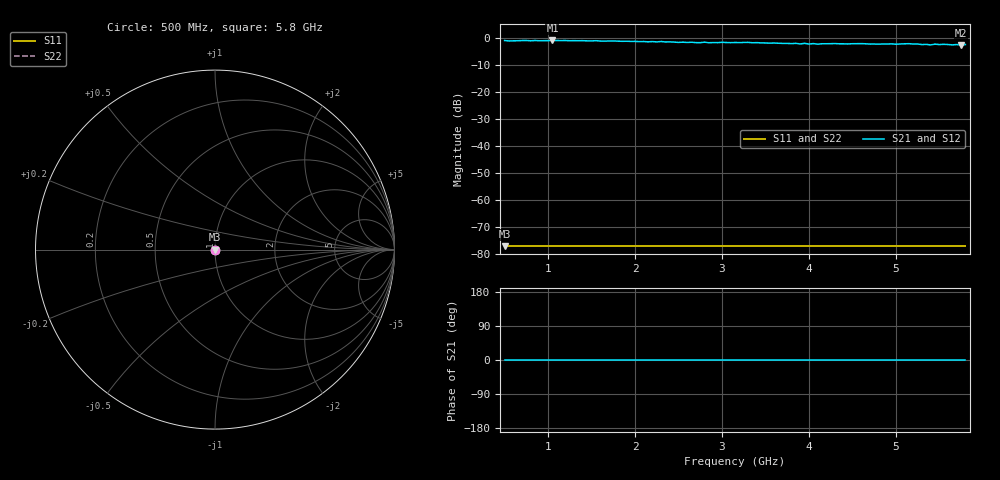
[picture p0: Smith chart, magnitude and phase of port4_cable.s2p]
# GHZ S RI R 50
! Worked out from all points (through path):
!   107 points, 500 MHz to 5.8 GHz, reference 50 ohm
!   highest |S21| = -1.01 dB at 1.05 GHz (marker M1); lowest = -2.7 dB at 5.75 GHz (marker M2)
!   lowest |S11| = -77.0 dB at 500 MHz (marker M3), VSWR 1.00, Z = 50 + j0.01 ohm
!   |S11| at or under -10 dB: start of sweep to end of sweep
!   |S22| runs from -77.0 to -77.0 dB; largest |S21 - S12| = 0
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0.5  0.0001 0.0001  0.8879 0  0.8879 0  0.0001 0.0001
0.55  0.0001 0.0001  0.8716 0  0.8716 0  0.0001 0.0001
1.05  0.0001 0.0001  0.8901 0  0.8901 0  0.0001 0.0001
1.4  0.0001 0.0001  0.882 0  0.882 0  0.0001 0.0001
2.15  0.0001 0.0001  0.8396 0  0.8396 0  0.0001 0.0001
2.3  0.0001 0.0001  0.8519 0  0.8519 0  0.0001 0.0001
2.5  0.0001 0.0001  0.8187 0  0.8187 0  0.0001 0.0001
3.15  0.0001 0.0001  0.8168 0  0.8168 0  0.0001 0.0001
3.85  0.0001 0.0001  0.7867 0  0.7867 0  0.0001 0.0001
3.9  0.0001 0.0001  0.767 0  0.767 0  0.0001 0.0001
3.95  0.0001 0.0001  0.7879 0  0.7879 0  0.0001 0.0001
4  0.0001 0.0001  0.7638 0  0.7638 0  0.0001 0.0001
4.05  0.0001 0.0001  0.7792 0  0.7792 0  0.0001 0.0001
4.1  0.0001 0.0001  0.7603 0  0.7603 0  0.0001 0.0001
4.3  0.0001 0.0001  0.7803 0  0.7803 0  0.0001 0.0001
4.95  0.0001 0.0001  0.7704 0  0.7704 0  0.0001 0.0001
5.15  0.0001 0.0001  0.7755 0  0.7755 0  0.0001 0.0001
5.4  0.0001 0.0001  0.7364 0  0.7364 0  0.0001 0.0001
5.45  0.0001 0.0001  0.7608 0  0.7608 0  0.0001 0.0001
5.7  0.0001 0.0001  0.7491 0  0.7491 0  0.0001 0.0001
5.75  0.0001 0.0001  0.7297 0  0.7297 0  0.0001 0.0001
5.8  0.0001 0.0001  0.7499 0  0.7499 0  0.0001 0.0001
